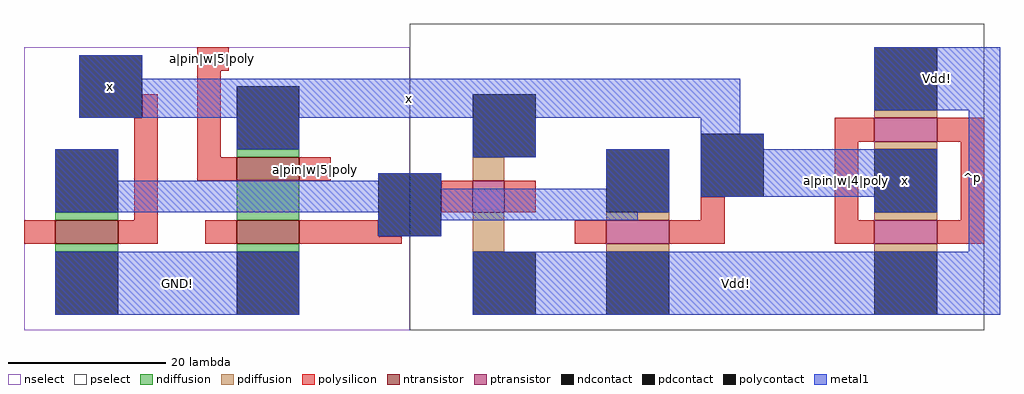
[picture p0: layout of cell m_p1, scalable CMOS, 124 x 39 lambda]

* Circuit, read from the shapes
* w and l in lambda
.subckt m_p1 GND! Vdd! a|pin|w|4|poly a|pin|w|5|poly x
M1 n1 x GND! VSUBS nfet w=8 l=3
M2 n2 n1 GND! VSUBS nfet w=8 l=3
M3 x a|pin|w|5|poly n2 VSUBS nfet w=8 l=3
M4 x n1 Vdd! NWELL pfet w=4 l=4
M5 n1 x Vdd! NWELL pfet w=8 l=3
M6 x a|pin|w|4|poly Vdd! NWELL pfet w=8 l=3 m=2
.ends

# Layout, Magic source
magic
tech scmos
<< nselect >>
rect -49 35 0 71
<< pselect >>
rect 0 35 73 74
<< ndiffusion >>
rect -45 49 -37 50
rect -22 57 -14 58
rect -22 49 -14 54
rect -45 45 -37 46
rect -22 45 -14 46
<< pdiffusion >>
rect 59 62 67 63
rect 8 54 12 57
rect 8 45 12 50
rect 25 49 33 50
rect 59 58 67 59
rect 59 49 67 50
rect 25 45 33 46
rect 59 45 67 46
<< ntransistor >>
rect -22 54 -14 57
rect -45 46 -37 49
rect -22 46 -14 49
<< ptransistor >>
rect 8 50 12 54
rect 59 59 67 62
rect 25 46 33 49
rect 59 46 67 49
<< polysilicon >>
rect -27 68 -23 71
rect -34 62 -32 65
rect -35 49 -32 62
rect -27 57 -24 68
rect -27 54 -22 57
rect -14 54 -10 57
rect -49 46 -45 49
rect -37 46 -32 49
rect -26 46 -22 49
rect -14 47 -4 49
rect 4 50 8 54
rect 12 50 16 54
rect -14 46 -1 47
rect 54 59 59 62
rect 67 59 73 62
rect 37 49 40 52
rect 21 46 25 49
rect 33 46 40 49
rect 54 49 57 59
rect 70 49 73 59
rect 54 46 59 49
rect 67 46 73 49
<< ndcontact >>
rect -45 50 -37 58
rect -22 58 -14 66
rect -45 37 -37 45
rect -22 37 -14 45
<< pdcontact >>
rect 8 57 16 65
rect 59 63 67 71
rect 25 50 33 58
rect 59 50 67 58
rect 8 37 16 45
rect 25 37 33 45
rect 59 37 67 45
<< polycontact >>
rect -42 62 -34 70
rect -4 47 4 55
rect 37 52 45 60
<< metal1 >>
rect -42 67 -34 70
rect -42 62 42 67
rect 59 63 75 71
rect -22 58 -14 62
rect -45 54 -37 58
rect 8 57 16 62
rect 37 60 42 62
rect 37 58 45 60
rect -4 54 4 55
rect -45 53 4 54
rect 25 53 33 58
rect -45 50 33 53
rect 37 52 67 58
rect 59 50 67 52
rect -4 49 29 50
rect -4 47 4 49
rect 71 45 75 63
rect -45 37 -14 45
rect 8 37 75 45
<< labels >>
rlabel metal1 63 54 63 54 1 x
rlabel metal1 -42 62 42 67 1 x
rlabel space 67 35 76 74 3 ^p
rlabel polysilicon 54 46 57 62 1 a|pin|w|4|poly
rlabel polysilicon 70 46 73 62 1 a|pin|w|4|poly
rlabel polysilicon -27 68 -23 71 1 a|pin|w|5|poly
rlabel polysilicon -14 54 -10 57 1 a|pin|w|5|poly
rlabel metal1 -45 37 -14 45 1 GND!
rlabel metal1 8 37 75 45 1 Vdd!
rlabel metal1 71 37 75 71 7 Vdd!
rlabel metal1 59 63 75 71 1 Vdd!
rlabel metal1 -42 62 -34 70 1 x
<< end >>
